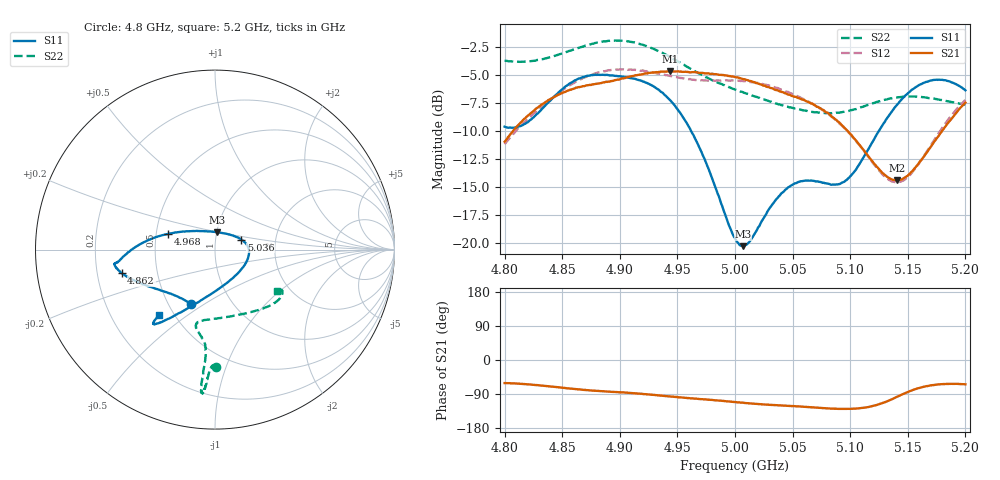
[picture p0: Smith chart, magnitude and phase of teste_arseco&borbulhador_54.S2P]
! Network Analyzer HP8722D
! Hewlett-Packard
! Data name: Linha & Wilkinson
! Saver's name: Rodrigo Anjos
! Comments: Teste da utilização de aquisição
! continua pelo VNA HP8722D
! Time and date: 15/4/2025 16:05
!  Frequency  S11  S21  S12  S22
# HZ  S  MA R 50
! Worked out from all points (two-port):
!   401 points, 4.8 GHz to 5.2 GHz, reference 50 ohm
!   highest |S21| = -4.63 dB at 4.944 GHz (marker M1); lowest = -14.4 dB at 5.141 GHz (marker M2)
!   |S21| within 3 dB of the highest: 4.832 GHz to 5.069 GHz (236.8 MHz wide, 4.78 % of centre); 5.198178 GHz to end of sweep
!   lowest |S11| = -20.2 dB at 5.007 GHz (marker M3), VSWR 1.22, Z = 50.4 + j9.8 ohm
!   |S11| at or under -10 dB: 4.962 GHz to 5.125 GHz (162.7 MHz wide, 3.23 % of centre)
!   |S22| runs from -8.4 to -1.9 dB; largest |S21 - S12| = 0.88
!   S11 on the Smith chart (normalised r, x): 4.8 GHz: 0.64, -0.44; 4.862 GHz: 0.31, -0.11; 4.968 GHz: 0.58, +0.11; 5.036 GHz: 1.34, +0.15; 5.2 GHz: 0.41, -0.39
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4.8e9  0.3318 -114.1  0.2843 -60.9  0.277 -175.3  0.6531 -89.5
4.819e9  0.3453 -133.8  0.3671 -63.9  0.354 -173.5  0.6476 -91.3
4.84e9  0.4352 -153.1  0.4412 -69.9  0.44 -173.8  0.6791 -92.6
4.862e9  0.5361 -165.9  0.4955 -77.0  0.5279 -176.6  0.7408 -93.7
4.867e9  0.5492 -167.8  0.5011 -78.4  0.5423 -177.6  0.753 -93.8
4.9e9  0.5573 -172.3  0.5394 -85.1  0.5975 175.7  0.8033 -95.2
4.934e9  0.4839 -178.3  0.5825 -93.4  0.5726 171.8  0.7186 -95.7
4.944e9  0.4339 177.3  0.5867 -96.3  0.5579 171.9  0.6771 -95.4
4.968e9  0.2751 161.4  0.5779 -102.7  0.5372 173.9  0.5756 -95.2
5e9  0.1057 106.4  0.5528 -111.0  0.5328 176.3  0.4863 -99.4
5.007e9  0.09722 82.2  0.541 -112.6  0.5299 176.3  0.4722 -101.0
5.013e9  0.1023 62.7  0.5304 -114.5  0.5245 176.1  0.4602 -102.2
5.036e9  0.1579 20.9  0.4833 -119.3  0.4947 174.9  0.4205 -103.8
5.05e9  0.1825 6.3  0.4549 -121.7  0.4625 174.3  0.4026 -100.4
5.067e9  0.1905 -12.0  0.4202 -124.8  0.4211 173.8  0.3863 -91.7
5.085e9  0.1833 -40.6  0.3653 -128.4  0.3635 173.6  0.3819 -78.5
5.097e9  0.192 -65.6  0.3203 -129.1  0.3196 174.4  0.3884 -68.3
5.134e9  0.3745 -116.5  0.1954 -106.5  0.1915 -159.4  0.4425 -43.4
5.141e9  0.4179 -120.4  0.191 -96.6  0.1876 -148.4  0.4485 -40.3
5.153e9  0.4823 -125.2  0.2082 -80.7  0.2051 -129.9  0.4522 -36.0
5.171e9  0.5338 -129.1  0.2747 -66.5  0.2792 -112.3  0.4435 -31.9
5.2e9  0.4819 -130.6  0.4248 -64.2  0.4368 -106.3  0.4155 -33.5
